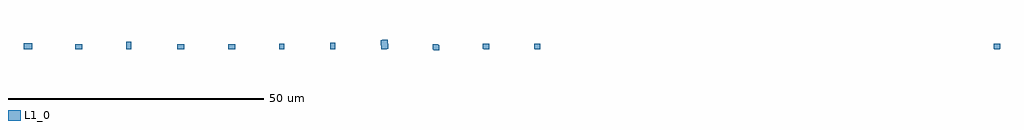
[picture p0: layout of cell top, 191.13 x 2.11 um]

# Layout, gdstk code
import gdstk
lib = gdstk.Library(unit=1e-6, precision=1e-09)
def R(c, l, rs):  # rectangles x0, y0, x1, y1
    for r in rs: c.add(gdstk.rectangle(r[:2], r[2:], *l))
L1_0 = (1, 0)

child = lib.new_cell('child')
R(child, L1_0, [(0,0,1,1)])

top = lib.new_cell('top')
r = gdstk.Reference(child, (10,0)); r.repetition = gdstk.Repetition(3, 2, v1=(0.3,0), v2=(0,0.2)); top.add(r)
r = gdstk.Reference(child, (20,0)); r.repetition = gdstk.Repetition(4, 1, v1=(0.15,0), v2=(0,0)); top.add(r)
r = gdstk.Reference(child, (30,0)); r.repetition = gdstk.Repetition(1, 3, v1=(0,0), v2=(0,0.25)); top.add(r)
top.add(gdstk.Reference(child, (40,0)))
top.add(gdstk.Reference(child, (40.1,0)))
top.add(gdstk.Reference(child, (40.35,0)))
top.add(gdstk.Reference(child, (40.4,0)))
top.add(gdstk.Reference(child, (50,0)))
top.add(gdstk.Reference(child, (50.1,0)))
top.add(gdstk.Reference(child, (50.35,0)))
top.add(gdstk.Reference(child, (50.4,0)))
top.add(gdstk.Reference(child, (60,0)))
top.add(gdstk.Reference(child, (60,0.1)))
top.add(gdstk.Reference(child, (60,0.13)))
top.add(gdstk.Reference(child, (70,0)))
top.add(gdstk.Reference(child, (70,0.1)))
top.add(gdstk.Reference(child, (70,0.3)))
r = gdstk.Reference(child, (80,0)); r.repetition = gdstk.Repetition(2, 3, v1=(0.3,0.1), v2=(-0.05,0.4)); top.add(r)
r = gdstk.Reference(child, (90,0)); r.repetition = gdstk.Repetition(4, 1, v1=(0.12,-0.07), v2=(0,0)); top.add(r)
top.add(gdstk.Reference(child, (100,0)))
top.add(gdstk.Reference(child, (100.1,0)))
top.add(gdstk.Reference(child, (100.1,0.1)))
top.add(gdstk.Reference(child, (99.85,0.13)))
top.add(gdstk.Reference(child, (110,0)))
top.add(gdstk.Reference(child, (110.1,0)))
top.add(gdstk.Reference(child, (110.13,0.07)))
top.add(gdstk.Reference(child, (109.88,0.1)))
top.add(gdstk.Reference(child, (200,0)))
top.add(gdstk.Reference(child, (200.1,0)))
top.add(gdstk.Reference(child, (200.13,0.07)))
top.add(gdstk.Reference(child, (199.88,0.1)))

lib.write_gds('top.gds')
